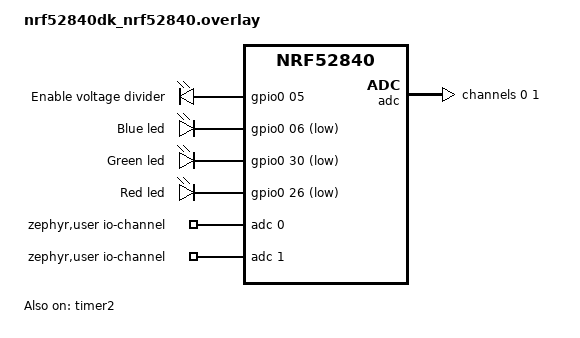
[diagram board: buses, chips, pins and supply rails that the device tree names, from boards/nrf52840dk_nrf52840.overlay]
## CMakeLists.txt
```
#
# Copyright (c) 2021 Nordic Semiconductor ASA
#
# SPDX-License-Identifier: LicenseRef-Nordic-5-Clause
#

cmake_minimum_required(VERSION 3.20.0)

find_package(Zephyr REQUIRED HINTS $ENV{ZEPHYR_BASE})

project(template)

# NORDIC SDK APP START
target_sources(app PRIVATE
  src/main.c
)

target_include_directories(app PRIVATE include)
# NORDIC SDK APP END
```

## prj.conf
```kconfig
#
# Copyright (c) 2021 Nordic Semiconductor ASA
#
# SPDX-License-Identifier: LicenseRef-Nordic-5-Clause
#

CONFIG_NCS_SAMPLES_DEFAULTS=n

CONFIG_GPIO=y

#Used for log. Disable for power optimization
CONFIG_SERIAL=y
CONFIG_UART_INTERRUPT_DRIVEN=y
CONFIG_CONSOLE=y
CONFIG_UART_CONSOLE=y
CONFIG_LOG=y
CONFIG_LOG_MODE_MINIMAL=n
CONFIG_LOG_BACKEND_UART=y
CONFIG_LOG_BACKEND_SHOW_COLOR=y

CONFIG_HEAP_MEM_POOL_SIZE=2048
CONFIG_MAIN_THREAD_PRIORITY=7

CONFIG_ZIGBEE_ADD_ON=y
CONFIG_ZIGBEE_APP_UTILS=y
CONFIG_ZIGBEE_ROLE_END_DEVICE=y

# Enable DK LED and Buttons library
CONFIG_DK_LIBRARY=n

# This example requires more workqueue stack
CONFIG_SYSTEM_WORKQUEUE_STACK_SIZE=2048

# Networking
CONFIG_NET_IPV6=n
CONFIG_NET_IP_ADDR_CHECK=n
CONFIG_NET_UDP=n

#Zigbee Channel
CONFIG_ZIGBEE_CHANNEL=25

# ADC
CONFIG_ADC=y

#Enable API for powering down unused RAM parts
#https://nrfconnectdocs.nordicsemi.com/addons/zigbee-r23/latest/configuring.html#sleepy-end-device-behavior
CONFIG_RAM_POWER_DOWN_LIBRARY=y

#power optimization
#https://nrfconnectdocs.nordicsemi.com/ncs/latest/nrf/test_and_optimize/optimizing/power_general.html#enable-device-power-management-module
CONFIG_PM_DEVICE=y
```

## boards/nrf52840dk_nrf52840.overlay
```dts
/*
 * Copyright (c) 2023 Nordic Semiconductor ASA
 *
 * SPDX-License-Identifier: LicenseRef-Nordic-5-Clause
 */
/ {
	chosen {
		ncs,zigbee-timer = &timer2;
	};

	leds {
		compatible = "gpio-leds";

		led_zero: led_0 {
			gpios = <&gpio0 05 GPIO_ACTIVE_HIGH>;
			label = "Enable voltage divider";
			status = "okay";
		};

		led_blue: led_1 {
			gpios = <&gpio0 06 GPIO_ACTIVE_LOW>;
			label = "Blue led";
			status = "okay";
		};

		led_green: led_2 {
			gpios = <&gpio0 30 GPIO_ACTIVE_LOW>;
			label = "Green led";
			status = "okay";
		};

		led_red: led_3 {
			gpios = <&gpio0 26 GPIO_ACTIVE_LOW>;
			label = "Red led";
			status = "okay";
		};
	};

	/*ADC config https://academy.nordicsemi.com/courses/nrf-connect-sdk-intermediate/lessons/lesson-6-analog-to-digital-converter-adc/topic/exercise-1-interfacing-with-adc-using-zephyr-api/*/
	zephyr,user {
		io-channels = <&adc 0>, <&adc 1>;
	};

	//Aliases
	/* Optional: Create aliases for easy access in your C code */
	aliases {
		batteryenable = &led_zero;
		ledblue = &led_blue;
		ledgreen = &led_green;
		ledred = &led_red;
	};
};

&timer2 {
	status = "okay";
};

&adc {
	#address-cells = <1>;
	#size-cells = <0>;
	status = "okay";

	//Dafine channel for battery voltage adc
	channel@0 {
		reg = <0>;
		zephyr,gain = "ADC_GAIN_1_6"; //Max input voltage = reference / Gain = 0.6 / (1/6) = 3.6V
		zephyr,reference = "ADC_REF_INTERNAL"; //-> +0.6
		zephyr,acquisition-time = <ADC_ACQ_TIME_DEFAULT>;
		zephyr,input-positive = <NRF_SAADC_AIN0>; // P0.02 for nRF52xx
		zephyr,resolution = <12>;
	};

	//Define channel for sensor adc
	channel@1 {
		reg = <1>;
		zephyr,gain = "ADC_GAIN_1_6"; //Max input voltage = reference / Gain = 0.6 / (1/6) = 3.6V
		zephyr,reference = "ADC_REF_INTERNAL"; //-> +0.6
		zephyr,acquisition-time = <ADC_ACQ_TIME_DEFAULT>;
		zephyr,input-positive = <NRF_SAADC_AIN1>; // P0.03 for nRF52xx
		zephyr,resolution = <12>;
	};
};
```

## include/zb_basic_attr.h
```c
// Basic cluster attributes initial values. For more information, see section 3.2.2.2 of the ZCL specification.
#define BASIC_APP_VERSION       01                                  // Version of the application software (1 byte).
#define BASIC_STACK_VERSION     10                                  // Version of the implementation of the Zigbee stack (1 byte).
#define BASIC_HW_VERSION        11                                  // Version of the hardware of the device (1 byte).
#define BASIC_MANUF_NAME        "Marco Corp."                     // Manufacturer name (32 bytes).
#define BASIC_MODEL_ID          "nRF_moisture"                        // Model number assigned by the manufacturer (32-bytes long string).
#define BASIC_DATE_CODE         "20261011"                          // Date provided by the manufacturer of the device in ISO 8601 format (YYYYMMDD), for the first 8 bytes. The remaining 8 bytes are manufacturer-specific.
#define BASIC_POWER_SOURCE      ZB_ZCL_BASIC_POWER_SOURCE_BATTERY   // Type of power source or sources available for the device. For possible values, see section 3.2.2.2.8 of the ZCL specification.
#define BASIC_LOCATION_DESC     "Earth"                             // Description of the physical location of the device (16 bytes). You can modify it during the commisioning process.
#define BASIC_PH_ENV            ZB_ZCL_BASIC_ENV_UNSPECIFIED        // Description of the type of physical environment. For possible values, see section 3.2.2.2.10 of the ZCL specification.
```

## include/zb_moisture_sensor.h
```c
#ifndef ZB_MOISTURE_H
#define ZB_MOISTURE_H

/**
 *  @defgroup ZB_DEFINE_DEVICE_MOISTURE Alarm Sensor
 *  @{
 *  @details
 *      - @ref ZB_ZCL_BASIC \n
 *      - @ref ZB_ZCL_IDENTIFY \n
 *      - @ref ZB_ZCL_BINARY_INPUT
 */

/** Alarm Sensor Device ID */
#define ZB_MOISTURE_DEVICE_ID 0x0402

/** Alarm Sensor device version */
#define ZB_DEVICE_VER_MOISTURE 0

/** @cond internals_doc */

/** Sensor IN (server) clusters number = basic + info + voltage*/
#define ZB_MOISTURE_IN_CLUSTER_NUM 3

/** Sensor OUT (client) clusters number */
#define ZB_MOISTURE_OUT_CLUSTER_NUM 0

/** Sensor total (IN+OUT) cluster number */
#define ZB_MOISTURE_CLUSTER_NUM \
	(ZB_MOISTURE_IN_CLUSTER_NUM + ZB_MOISTURE_OUT_CLUSTER_NUM)

/** Number of attribute for reporting*/
#define MOISTURE_REPORT_ATTR_COUNT ZB_ZCL_ANALOG_INPUT_REPORT_ATTR_COUNT

/**
 * @brief Declare cluster list for Alarm Sensor device
 * @param cluster_list_name - cluster list variable name
 * @param basic_server_attr_list - attribute list for Basic cluster (server role)
 * @param identify_server_attr_list - attribute list for Identify cluster (server role)
 * @param binary_input_attr_list - attribute list for binary_input cluster (server role)
 */
#define ZB_DECLARE_MOISTURE_CLUSTER_LIST(		 \
		cluster_list_name,						 \
		basic_server_attr_list,					 \
		identify_server_attr_list,				 \
		analog_in_attr_list)					 \
zb_zcl_cluster_desc_t cluster_list_name[] =		 \
{										  \
	ZB_ZCL_CLUSTER_DESC(							  \
		ZB_ZCL_CLUSTER_ID_BASIC,					  \
		ZB_ZCL_ARRAY_SIZE(basic_server_attr_list, zb_zcl_attr_t),	  \
		(basic_server_attr_list),					  \
		ZB_ZCL_CLUSTER_SERVER_ROLE,					  \
		ZB_ZCL_MANUF_CODE_INVALID					  \
	),									  \
	ZB_ZCL_CLUSTER_DESC(							  \
		ZB_ZCL_CLUSTER_ID_IDENTIFY,					  \
		ZB_ZCL_ARRAY_SIZE(identify_server_attr_list, zb_zcl_attr_t),	  \
		(identify_server_attr_list),					  \
		ZB_ZCL_CLUSTER_SERVER_ROLE,					  \
		ZB_ZCL_MANUF_CODE_INVALID					  \
	),									  \
	ZB_ZCL_CLUSTER_DESC(							  \
		ZB_ZCL_CLUSTER_ID_ANALOG_INPUT,					  \
		ZB_ZCL_ARRAY_SIZE(analog_in_attr_list, zb_zcl_attr_t),	  \
		(analog_in_attr_list),					  \
		ZB_ZCL_CLUSTER_SERVER_ROLE,					  \
		ZB_ZCL_MANUF_CODE_INVALID					  \
	)									  \
}

/** @cond internals_doc */
/**
 * @brief Declare simple descriptor for Alarm Sensor device
 * @param ep_name - endpoint variable name
 * @param ep_id - endpoint ID
 * @param in_clust_num - number of supported input clusters
 * @param out_clust_num - number of supported output clusters
 */
#define ZB_ZCL_DECLARE_MOISTURE_SIMPLE_DESC(				    \
	ep_name, ep_id, in_clust_num, out_clust_num)				    \
	ZB_DECLARE_SIMPLE_DESC_VA(in_clust_num, out_clust_num, ep_name);			    \
	ZB_AF_SIMPLE_DESC_TYPE_VA(in_clust_num, out_clust_num, ep_name) simple_desc_##ep_name = \
	{									    \
		ep_id,								    \
		ZB_AF_HA_PROFILE_ID,						    \
		ZB_MOISTURE_DEVICE_ID,					    \
		ZB_DEVICE_VER_MOISTURE,					    \
		0,								    \
		in_clust_num,							    \
		out_clust_num,							    \
		{								    \
			ZB_ZCL_CLUSTER_ID_BASIC,				    \
			ZB_ZCL_CLUSTER_ID_IDENTIFY,				    \
			ZB_ZCL_CLUSTER_ID_ANALOG_INPUT 			    \
		}								    \
	}

/** @endcond */ /* internals_doc */

/**
 * @brief Declare endpoint for Alarm Sensor device
 * @param ep_name - endpoint variable name
 * @param ep_id - endpoint ID
 * @param cluster_list - endpoint cluster list
 */
#define ZB_DECLARE_MOISTURE_EP(ep_name, ep_id, cluster_list)		      \
	ZB_ZCL_DECLARE_MOISTURE_SIMPLE_DESC(ep_name, ep_id,		      \
		  ZB_MOISTURE_IN_CLUSTER_NUM, ZB_MOISTURE_OUT_CLUSTER_NUM); \
	ZBOSS_DEVICE_DECLARE_REPORTING_CTX(reporting_info##ep_name,		      \
		MOISTURE_REPORT_ATTR_COUNT);				      \
	ZB_AF_DECLARE_ENDPOINT_DESC(ep_name, ep_id, ZB_AF_HA_PROFILE_ID, 0, NULL,     \
		ZB_ZCL_ARRAY_SIZE(cluster_list, zb_zcl_cluster_desc_t), cluster_list, \
		(zb_af_simple_desc_1_1_t *)&simple_desc_##ep_name,		      \
		MOISTURE_REPORT_ATTR_COUNT, \
		reporting_info##ep_name, /* Use reporting ctx to transmit attribute */    \
		0, NULL) /* No CVC ctx */

/** @} */

#endif /* ZB_MOISTURE_H */
```
